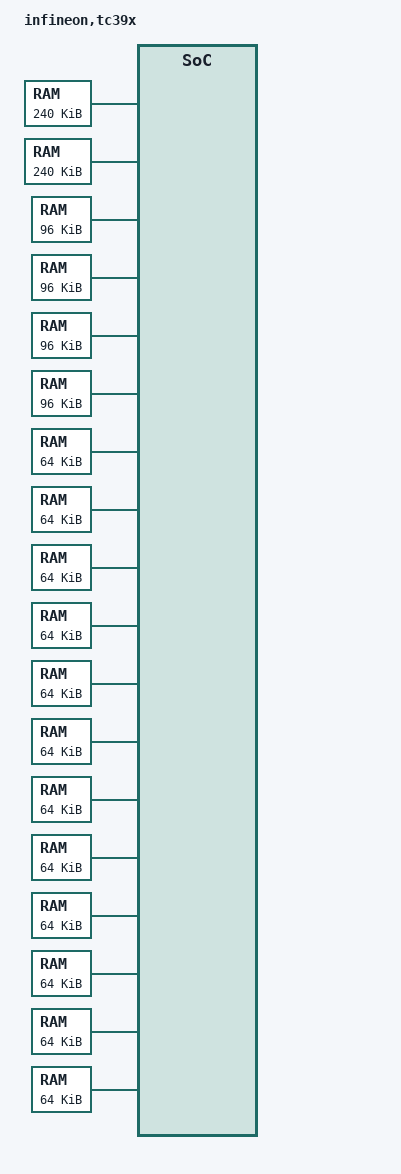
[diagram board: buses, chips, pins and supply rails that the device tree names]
/*
 * Copyright (c) 2024 Infineon Technologies AG
 *
 * SPDX-License-Identifier: Apache-2.0
 */

#include <mem.h>
#include <freq.h>
#include <skeleton.dtsi>
#include <zephyr/dt-bindings/clock/tc3x_clock.h>
#include <zephyr/dt-bindings/gpio/gpio.h>
#include <infineon/tc3x/tc39x-irq.h>
#include <infineon/tc3x/tc3x-common.dtsi>

/ {
	model = "infineon,tc39x";
	compatible = "infineon,tc39x";

	cpus {
		#address-cells = <1>;
		#size-cells = <0>;

		cpu0: cpu@0 {
			compatible = "infineon,tc162";
			reg = <0>;
			clocks = <&fcpu0>;
		};
		cpu1: cpu@1 {
			compatible = "infineon,tc162";
			reg = <1>;
			clocks = <&fcpu1>;
		};
		cpu2: cpu@2 {
			compatible = "infineon,tc162";
			reg = <2>;
			clocks = <&fcpu2>;
		};
		cpu3: cpu@3 {
			compatible = "infineon,tc162";
			reg = <3>;
			clocks = <&fcpu3>;
		};
		cpu4: cpu@4 {
			compatible = "infineon,tc162";
			reg = <4>;
			clocks = <&fcpu4>;
		};
		cpu5: cpu@5 {
			compatible = "infineon,tc162";
			reg = <5>;
			clocks = <&fcpu5>;
		};
	};

	flash_controller0: flash_controller@af000000 {
		compatible = "infineon,tc3x-flash-controller";
		#address-cells = <1>;
		#size-cells = <1>;
		reg = <0xaf000000 DT_SIZE_K(256)>;
		flash0: flash@80000000 {
			compatible = "infineon,tc3x-nv-flash","soc-nv-flash";
			write-block-size = <256>;
			reg = <0x80000000 DT_SIZE_M(3)>;
		};
		flash1: flash@80300000 {
			compatible = "infineon,tc3x-nv-flash","soc-nv-flash";
			write-block-size = <256>;
			reg = <0x80300000 DT_SIZE_M(3)>;
		};
		flash2: flash@80600000 {
			compatible = "infineon,tc3x-nv-flash","soc-nv-flash";
			write-block-size = <256>;
			reg = <0x80600000 DT_SIZE_M(3)>;
		};
		flash3: flash@80900000 {
			compatible = "infineon,tc3x-nv-flash","soc-nv-flash";
			write-block-size = <256>;
			reg = <0x80900000 DT_SIZE_M(3)>;
		};
		flash4: flash@80c00000 {
			compatible = "infineon,tc3x-nv-flash","soc-nv-flash";
			write-block-size = <256>;
			reg = <0x80c00000 DT_SIZE_M(3)>;
		};
		flash5: flash@80f00000 {
			compatible = "infineon,tc3x-nv-flash","soc-nv-flash";
			write-block-size = <256>;
			reg = <0x80f00000 DT_SIZE_M(1)>;
		};
	};

	dsram0: memory@70000000 {
		compatible = "zephyr,memory-region","mmio-sram";
		reg = <0x70000000 DT_SIZE_K(240)>;
		zephyr,memory-region = "DSRAM0";
	};
	dsram1: memory@60000000 {
		compatible = "zephyr,memory-region","mmio-sram";
		reg = <0x60000000 DT_SIZE_K(240)>;
		zephyr,memory-region = "DSRAM1";
	};
	dsram2: memory@50000000 {
		compatible = "zephyr,memory-region","mmio-sram";
		reg = <0x50000000 DT_SIZE_K(96)>;
		zephyr,memory-region = "DSRAM2";
	};
	dsram3: memory@40000000 {
		compatible = "zephyr,memory-region","mmio-sram";
		reg = <0x40000000 DT_SIZE_K(96)>;
		zephyr,memory-region = "DSRAM3";
	};
	dsram4: memory@30000000 {
		compatible = "zephyr,memory-region","mmio-sram";
		reg = <0x30000000 DT_SIZE_K(96)>;
		zephyr,memory-region = "DSRAM4";
	};
	dsram5: memory@10000000 {
		compatible = "zephyr,memory-region","mmio-sram";
		reg = <0x10000000 DT_SIZE_K(96)>;
		zephyr,memory-region = "DSRAM5";
	};

	psram0: memory@70100000 {
		compatible = "zephyr,memory-region","mmio-sram";
		reg = <0x70100000 DT_SIZE_K(64)>;
		zephyr,memory-region = "PSRAM0";
	};
	psram1: memory@60100000 {
		compatible = "zephyr,memory-region","mmio-sram";
		reg = <0x60100000 DT_SIZE_K(64)>;
		zephyr,memory-region = "PSRAM1";
	};
	psram2: memory@50100000 {
		compatible = "zephyr,memory-region","mmio-sram";
		reg = <0x50100000 DT_SIZE_K(64)>;
		zephyr,memory-region = "PSRAM2";
	};
	psram3: memory@40100000 {
		compatible = "zephyr,memory-region","mmio-sram";
		reg = <0x40100000 DT_SIZE_K(64)>;
		zephyr,memory-region = "PSRAM3";
	};
	psram4: memory@30100000 {
		compatible = "zephyr,memory-region","mmio-sram";
		reg = <0x30100000 DT_SIZE_K(64)>;
		zephyr,memory-region = "PSRAM4";
	};
	psram5: memory@10100000 {
		compatible = "zephyr,memory-region","mmio-sram";
		reg = <0x10100000 DT_SIZE_K(64)>;
		zephyr,memory-region = "PSRAM5";
	};

	dlmu0: memory@90000000 {
		compatible = "zephyr,memory-region","mmio-sram";
		reg = <0x90000000 DT_SIZE_K(64)>;
		zephyr,memory-region = "DLMU0";
	};

	dlmu1: memory@90010000 {
		compatible = "zephyr,memory-region","mmio-sram";
		reg = <0x90010000 DT_SIZE_K(64)>;
		zephyr,memory-region = "DLMU1";
	};

	dlmu2: memory@90020000 {
		compatible = "zephyr,memory-region","mmio-sram";
		reg = <0x90020000 DT_SIZE_K(64)>;
		zephyr,memory-region = "DLMU2";
	};

	dlmu3: memory@90030000 {
		compatible = "zephyr,memory-region","mmio-sram";
		reg = <0x90030000 DT_SIZE_K(64)>;
		zephyr,memory-region = "DLMU3";
	};

	dlmu4: memory@90040000 {
		compatible = "zephyr,memory-region","mmio-sram";
		reg = <0x90040000 DT_SIZE_K(64)>;
		zephyr,memory-region = "DLMU4";
	};

	dlmu5: memory@90050000 {
		compatible = "zephyr,memory-region","mmio-sram";
		reg = <0x90050000 DT_SIZE_K(64)>;
		zephyr,memory-region = "DLMU5";
	};

	soc {
		#address-cells = <1>;
		#size-cells = <1>;
		interrupt-parent = <&ir>;
		compatible = "simple-bus";
		ranges;

		stm0: timer@f0001000 {
			compatible = "infineon,tc3x-stm";
			reg = <0xF0001000 256>;
			clocks = <&fstm>;
			interrupts = <IRQ_STM0_SR0 1>;
		};
		stm1: timer@f0001100 {
			compatible = "infineon,tc3x-stm";
			reg = <0xF0001100 256>;
			clocks = <&fstm>;
			interrupts = <IRQ_STM1_SR0 1>;
		};
		stm2: timer@f0001200 {
			compatible = "infineon,tc3x-stm";
			reg = <0xF0001200 256>;
			clocks = <&fstm>;
			interrupts = <IRQ_STM2_SR0 1>;
		};
		stm3: timer@f0001300 {
			compatible = "infineon,tc3x-stm";
			reg = <0xF0001300 256>;
			clocks = <&fstm>;
			interrupts = <IRQ_STM3_SR0 1>;
		};
		stm4: timer@f0001400 {
			compatible = "infineon,tc3x-stm";
			reg = <0xF0001400 256>;
			clocks = <&fstm>;
			interrupts = <IRQ_STM4_SR0 1>;
		};
		stm5: timer@f0001500 {
			compatible = "infineon,tc3x-stm";
			reg = <0xF0001500 256>;
			clocks = <&fstm>;
			interrupts = <IRQ_STM5_SR0 1>;
		};

		pinctrl: pinctrl@f003a000 {
			compatible = "infineon,tc3x-pinctrl";
			reg = <0xF003A000 0x100>;
			#address-cells = <1>;
			#size-cells = <1>;

			p00: gpio@f003a000 {
				compatible = "infineon,tc3x-gpio";
				reg = <0xF003A000 0x100>;
				gpio-controller;
				#gpio-cells = <2>;
				status = "disabled";
			};
			p01: gpio@f003a100 {
				compatible = "infineon,tc3x-gpio";
				reg = <0xF003A100 0x100>;
				gpio-controller;
				#gpio-cells = <2>;
				status = "disabled";
			};
			p02: gpio@f003a200 {
				compatible = "infineon,tc3x-gpio";
				reg = <0xF003A200 0x100>;
				gpio-controller;
				#gpio-cells = <2>;
				status = "disabled";
			};
			p10: gpio@f003aa00 {
				compatible = "infineon,tc3x-gpio";
				reg = <0xF003AA00 0x100>;
				gpio-controller;
				#gpio-cells = <2>;
				status = "disabled";
			};
			p11: gpio@f003ab00 {
				compatible = "infineon,tc3x-gpio";
				reg = <0xF003AB00 0x100>;
				gpio-controller;
				#gpio-cells = <2>;
				status = "disabled";
			};
			p12: gpio@f003ac00 {
				compatible = "infineon,tc3x-gpio";
				reg = <0xF003AC00 0x100>;
				gpio-controller;
				#gpio-cells = <2>;
				status = "disabled";
			};
			p13: gpio@f003ad00 {
				compatible = "infineon,tc3x-gpio";
				reg = <0xF003AD00 0x100>;
				gpio-controller;
				#gpio-cells = <2>;
				status = "disabled";
			};
			p14: gpio@f003ae00 {
				compatible = "infineon,tc3x-gpio";
				reg = <0xF003AE00 0x100>;
				gpio-controller;
				#gpio-cells = <2>;
				status = "disabled";
			};
			p15: gpio@f003af00 {
				compatible = "infineon,tc3x-gpio";
				reg = <0xF003AF00 0x100>;
				gpio-controller;
				#gpio-cells = <2>;
				status = "disabled";
			};
			p20: gpio@f003b400 {
				compatible = "infineon,tc3x-gpio";
				reg = <0xF003B400 0x100>;
				gpio-controller;
				#gpio-cells = <2>;
				status = "disabled";
			};
			p21: gpio@f003b500 {
				compatible = "infineon,tc3x-gpio";
				reg = <0xF003B500 0x100>;
				gpio-controller;
				#gpio-cells = <2>;
				status = "disabled";
			};
			p22: gpio@f003b600 {
				compatible = "infineon,tc3x-gpio";
				reg = <0xF003B600 0x100>;
				gpio-controller;
				#gpio-cells = <2>;
				status = "disabled";
			};
			p23: gpio@f003b700 {
				compatible = "infineon,tc3x-gpio";
				reg = <0xF003B700 0x100>;
				gpio-controller;
				#gpio-cells = <2>;
				status = "disabled";
			};
			p24: gpio@f003b800 {
				compatible = "infineon,tc3x-gpio";
				reg = <0xF003B800 0x100>;
				gpio-controller;
				#gpio-cells = <2>;
				status = "disabled";
			};
			p25: gpio@f003b900 {
				compatible = "infineon,tc3x-gpio";
				reg = <0xF003B900 0x100>;
				gpio-controller;
				#gpio-cells = <2>;
				status = "disabled";
			};
			p26: gpio@f003ba00 {
				compatible = "infineon,tc3x-gpio";
				reg = <0xF003BA00 0x100>;
				gpio-controller;
				#gpio-cells = <2>;
				status = "disabled";
			};
			p30: gpio@f003be00 {
				compatible = "infineon,tc3x-gpio";
				reg = <0xF003BE00 0x100>;
				gpio-controller;
				#gpio-cells = <2>;
				status = "disabled";
			};
			p31: gpio@f003bf00 {
				compatible = "infineon,tc3x-gpio";
				reg = <0xF003BF00 0x100>;
				gpio-controller;
				#gpio-cells = <2>;
				status = "disabled";
			};
			p32: gpio@f003c000 {
				compatible = "infineon,tc3x-gpio";
				reg = <0xF003C000 0x100>;
				gpio-controller;
				#gpio-cells = <2>;
				status = "disabled";
			};
			p33: gpio@f003c100 {
				compatible = "infineon,tc3x-gpio";
				reg = <0xF003C100 0x100>;
				gpio-controller;
				#gpio-cells = <2>;
				status = "disabled";
			};
			p34: gpio@f003c200 {
				compatible = "infineon,tc3x-gpio";
				reg = <0xF003C200 0x100>;
				gpio-controller;
				#gpio-cells = <2>;
				status = "disabled";
			};
			p40: gpio@f003c800 {
				compatible = "infineon,tc3x-gpio";
				reg = <0xF003C800 0x100>;
				gpio-controller;
				#gpio-cells = <2>;
				status = "disabled";
			};
			p41: gpio@f003c900 {
				compatible = "infineon,tc3x-gpio";
				reg = <0xF003C900 0x100>;
				gpio-controller;
				#gpio-cells = <2>;
				status = "disabled";
			};
		};

		asclin0: asclin@f0000600 {
			reg = <0xF0000600 256>;
			interrupts = <IRQ_ASCLIN0_TX 2>, <IRQ_ASCLIN0_RX 3>, <IRQ_ASCLIN0_ERR 4>;
			interrupt-names = "tx", "rx", "err";
			clocks = <&ccu CLOCK_FASCLINF>, <&ccu CLOCK_FASCLINS>;
			clock-names = "fasclinf", "fasclins";
			status = "disabled";
		};
		asclin1: asclin@f0000700 {
			reg = <0xF0000700 256>;
			interrupts = <IRQ_ASCLIN1_TX 2>, <IRQ_ASCLIN1_RX 3>, <IRQ_ASCLIN1_ERR 4>;
			interrupt-names = "tx", "rx", "err";
			clocks = <&ccu CLOCK_FASCLINF>, <&ccu CLOCK_FASCLINS>;
			clock-names = "fasclinf", "fasclins";
			status = "disabled";
		};
		asclin2: asclin@f0000800 {
			reg = <0xF0000800 256>;
			interrupts = <IRQ_ASCLIN2_TX 2>, <IRQ_ASCLIN2_RX 3>, <IRQ_ASCLIN2_ERR 4>;
			interrupt-names = "tx", "rx", "err";
			clocks = <&ccu CLOCK_FASCLINF>, <&ccu CLOCK_FASCLINS>;
			clock-names = "fasclinf", "fasclins";
			status = "disabled";
		};
		asclin3: asclin@f0000900 {
			reg = <0xF0000900 256>;
			interrupts = <IRQ_ASCLIN3_TX 2>, <IRQ_ASCLIN3_RX 3>, <IRQ_ASCLIN3_ERR 4>;
			interrupt-names = "tx", "rx", "err";
			clocks = <&ccu CLOCK_FASCLINF>, <&ccu CLOCK_FASCLINS>;
			clock-names = "fasclinf", "fasclins";
			status = "disabled";
		};
		asclin4: asclin@f0000a00 {
			reg = <0xF0000A00 256>;
			interrupts = <IRQ_ASCLIN4_TX 2>, <IRQ_ASCLIN4_RX 3>, <IRQ_ASCLIN4_ERR 4>;
			interrupt-names = "tx", "rx", "err";
			clocks = <&ccu CLOCK_FASCLINF>, <&ccu CLOCK_FASCLINS>;
			clock-names = "fasclinf", "fasclins";
			status = "disabled";
		};
		asclin5: asclin@f0000b00 {
			reg = <0xF0000B00 256>;
			interrupts = <IRQ_ASCLIN5_TX 2>, <IRQ_ASCLIN5_RX 3>, <IRQ_ASCLIN5_ERR 4>;
			interrupt-names = "tx", "rx", "err";
			clocks = <&ccu CLOCK_FASCLINF>, <&ccu CLOCK_FASCLINS>;
			clock-names = "fasclinf", "fasclins";
			status = "disabled";
		};
		asclin6: asclin@f0000c00 {
			reg = <0xF0000C00 256>;
			interrupts = <IRQ_ASCLIN6_TX 2>, <IRQ_ASCLIN6_RX 3>, <IRQ_ASCLIN6_ERR 4>;
			interrupt-names = "tx", "rx", "err";
			clocks = <&ccu CLOCK_FASCLINF>, <&ccu CLOCK_FASCLINS>;
			clock-names = "fasclinf", "fasclins";
			status = "disabled";
		};
		asclin7: asclin@f0000d00 {
			reg = <0xF0000D00 256>;
			interrupts = <IRQ_ASCLIN7_TX 2>, <IRQ_ASCLIN7_RX 3>, <IRQ_ASCLIN7_ERR 4>;
			interrupt-names = "tx", "rx", "err";
			clocks = <&ccu CLOCK_FASCLINF>, <&ccu CLOCK_FASCLINS>;
			clock-names = "fasclinf", "fasclins";
			status = "disabled";
		};
		asclin8: asclin@f0000e00 {
			reg = <0xF0000E00 256>;
			interrupts = <IRQ_ASCLIN8_TX 2>, <IRQ_ASCLIN8_RX 3>, <IRQ_ASCLIN8_ERR 4>;
			interrupt-names = "tx", "rx", "err";
			clocks = <&ccu CLOCK_FASCLINF>, <&ccu CLOCK_FASCLINS>;
			clock-names = "fasclinf", "fasclins";
			status = "disabled";
		};
		asclin9: asclin@f0000f00 {
			reg = <0xF0000F00 256>;
			interrupts = <IRQ_ASCLIN9_TX 2>, <IRQ_ASCLIN9_RX 3>, <IRQ_ASCLIN9_ERR 4>;
			interrupt-names = "tx", "rx", "err";
			clocks = <&ccu CLOCK_FASCLINF>, <&ccu CLOCK_FASCLINS>;
			clock-names = "fasclinf", "fasclins";
			status = "disabled";
		};
		asclin10: asclin@f02c0a00 {
			reg = <0xF02C0A00 0x100>;
			interrupts = <IRQ_ASCLIN10_TX 2>, <IRQ_ASCLIN10_RX 3>, <IRQ_ASCLIN10_ERR 4>;
			interrupt-names = "tx", "rx", "err";
			clocks = <&ccu CLOCK_FASCLINF>, <&ccu CLOCK_FASCLINS>;
			clock-names = "fasclinf", "fasclins";
			status = "disabled";
		};
		asclin11: asclin@f02c0b00 {
			reg = <0xF02C0B00 0x100>;
			interrupts = <IRQ_ASCLIN11_TX 2>, <IRQ_ASCLIN11_RX 3>, <IRQ_ASCLIN11_ERR 4>;
			interrupt-names = "tx", "rx", "err";
			clocks = <&ccu CLOCK_FASCLINF>, <&ccu CLOCK_FASCLINS>;
			clock-names = "fasclinf", "fasclins";
			status = "disabled";
		};
	};
};
